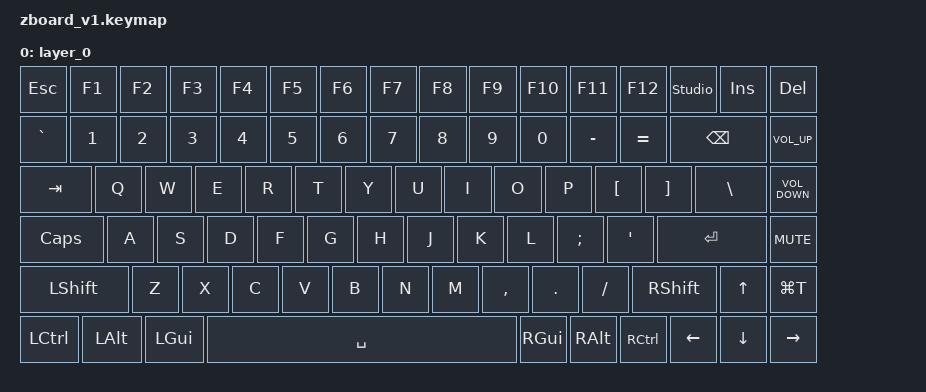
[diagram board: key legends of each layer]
#include <behaviors.dtsi>
#include <dt-bindings/zmk/keys.h>
#include <dt-bindings/zmk/bt.h>

/ {
    keymap {
        compatible = "zmk,keymap";

        layer_0 {
            bindings = <
                &kp ESC  &kp F1  &kp F2  &kp F3  &kp F4  &kp F5  &kp F6  &kp F7  &kp F8  &kp F9  &kp F10  &kp F11  &kp F12  &studio_unlock  &kp INSERT  &kp DELETE  
                &kp GRAVE  &kp N1  &kp N2  &kp N3  &kp N4  &kp N5  &kp N6  &kp N7  &kp N8  &kp N9  &kp N0  &kp MINUS  &kp EQUAL  &kp BSPC  &kp C_VOLUME_UP  
                &kp TAB  &kp Q  &kp W  &kp E  &kp R  &kp T  &kp Y  &kp U  &kp I  &kp O  &kp P  &kp LBKT  &kp RBKT  &kp BSLH  &kp C_VOLUME_DOWN  
                &kp CAPS  &kp A  &kp S  &kp D  &kp F  &kp G  &kp H  &kp J  &kp K  &kp L  &kp SEMI  &kp SQT  &kp RET  &kp K_MUTE  
                &kp LSHFT  &kp Z  &kp X  &kp C  &kp V  &kp B  &kp N  &kp M  &kp COMMA  &kp DOT  &kp FSLH  &kp RSHFT  &kp UP  &kp LG(T)  
                &kp LCTRL  &kp LALT  &kp LGUI  &kp SPACE  &kp RGUI  &kp RALT  &kp RCTRL  &kp LEFT  &kp DOWN  &kp RIGHT
            >;
        };
    };
};
